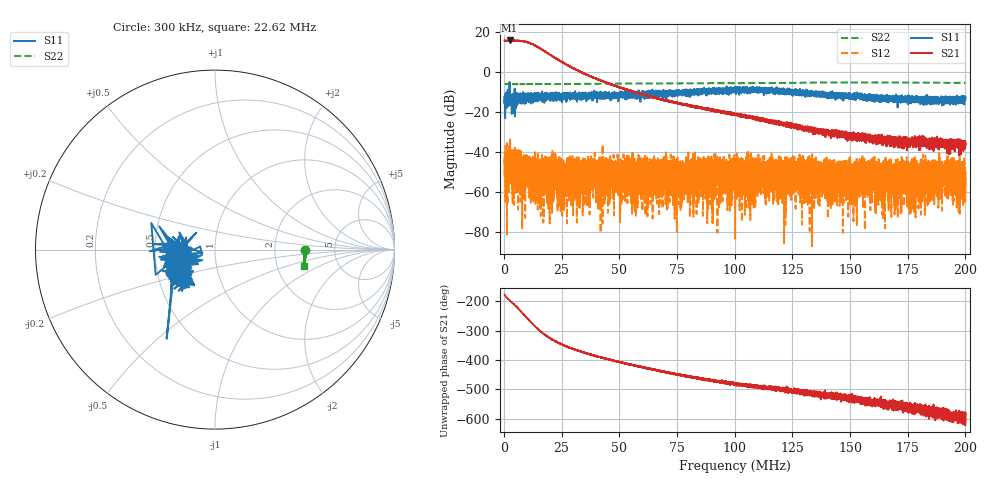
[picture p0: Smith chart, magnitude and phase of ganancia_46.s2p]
# Hz S DB R 50
! CMT, M5065, 19127446, 24.2.4/2
! Date: 11/8/2024 3:16:46 PM
! Data: Format (Calibration Info)
! Freq	S11:dB/Ang(F2)	S21:dB/Ang(F2)	S12:dB/Ang(F2)	S22:dB/Ang(F2)
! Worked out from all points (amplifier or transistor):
!   9000 points, 300 kHz to 200 MHz, reference 50 ohm
!   highest |S21| = 15.8 dB at 2.453 MHz (marker M1)
!   |S21| within 3 dB of that: start of sweep to 14.25 MHz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
!   unconditionally stable (mu >= 1): start of sweep to end of sweep
!   at 33.59 MHz: K = 85.03, MAG = 1.5 dB, |S12| = -47.7 dB
!   at 100.2 MHz: K = 1085.25, MAG = -18.9 dB, |S12| = -50.0 dB
!   at 200 MHz: K = 4844.66, MAG = -33.9 dB, |S12| = -47.5 dB
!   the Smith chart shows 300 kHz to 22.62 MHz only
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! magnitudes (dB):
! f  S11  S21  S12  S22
! 300 kHz  -15.4  15.7  -41.9  -6.0
! 2.453 MHz  -5.0  15.8  -43.1  -6.1
! 5.471 MHz  -12.8  15.7  -48.5  -6.0
! 7.179 MHz  -13.3  15.5  -58.3  -6.0
! 10.44 MHz  -14.0  14.8  -49.2  -6.0
! 18.96 MHz  -12.5  9.5  -55.4  -5.9
! 21.12 MHz  -12.0  7.9  -53.6  -6.0
! 25.58 MHz  -12.2  4.7  -49.4  -5.9
! 28.84 MHz  -11.0  2.7  -44.5  -5.9
! 33.59 MHz  -11.8  -0.1  -47.7  -5.9
! 44.44 MHz  -12.8  -5.3  -51.4  -5.8
! 54.87 MHz  -12.7  -9.4  -50.0  -5.7
! 56.93 MHz  -12.6  -10.1  -48.3  -5.7
! 59.28 MHz  -11.7  -10.9  -45.1  -5.7
! 66.87 MHz  -10.9  -13.0  -50.0  -5.7
! 100.2 MHz  -8.0  -21.1  -50.0  -5.6
! 133.4 MHz  -11.6  -28.9  -44.3  -5.3
! 166.7 MHz  -14.0  -35.3  -46.8  -5.2
! 177.1 MHz  -14.4  -36.0  -52.4  -5.3
! 190.9 MHz  -15.8  -35.8  -51.0  -5.3
! 198 MHz  -14.1  -35.0  -49.5  -5.4
! 200 MHz  -13.7  -35.6  -47.5  -5.4
